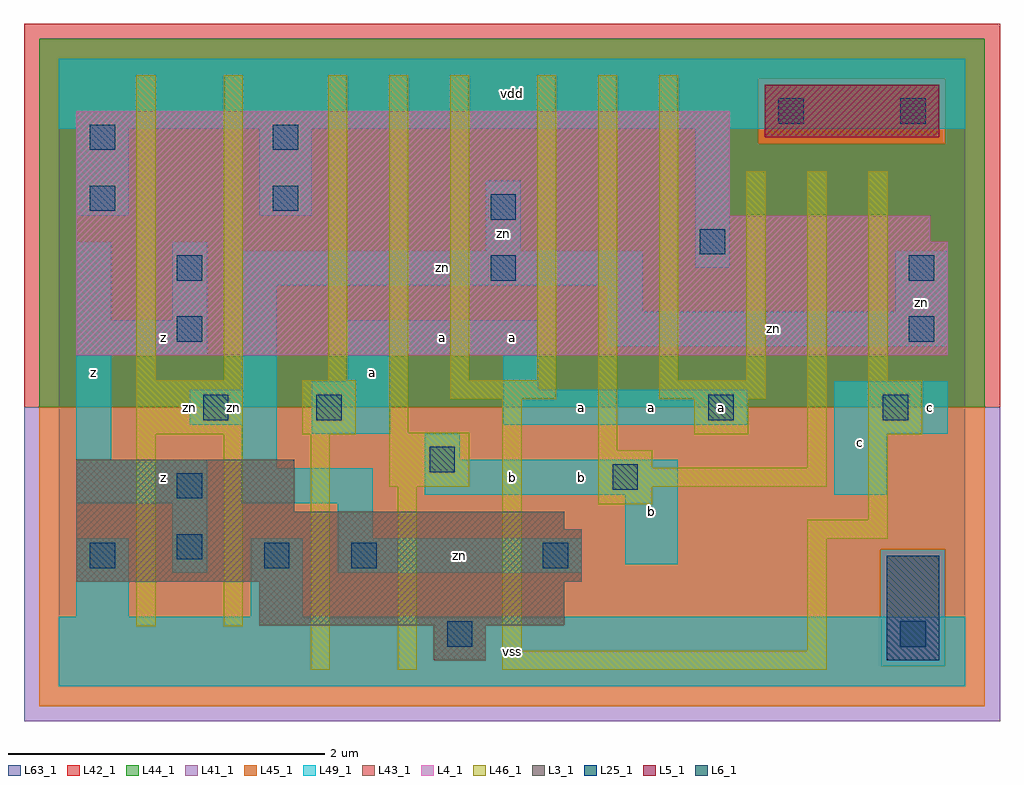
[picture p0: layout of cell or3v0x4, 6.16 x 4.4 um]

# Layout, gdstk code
import gdstk
lib = gdstk.Library(unit=1e-6, precision=1e-09)
def R(c, l, rs):  # rectangles x0, y0, x1, y1
    for r in rs: c.add(gdstk.rectangle(r[:2], r[2:], *l))
L3_1 = (3, 1)
L4_1 = (4, 1)
L5_1 = (5, 1)
L6_1 = (6, 1)
L25_1 = (25, 1)
L41_1 = (41, 1)
L42_1 = (42, 1)
L43_1 = (43, 1)
L44_1 = (44, 1)
L45_1 = (45, 1)
L46_1 = (46, 1)
L49_1 = (49, 1)
L63_1 = (63, 1)

or3v0x4 = lib.new_cell('or3v0x4')
R(or3v0x4, L3_1, [(2.365,0.165,2.695,0.385), (1.265,0.385,3.19,0.66), (0.11,0.66,3.3,0.99), (0.11,0.99,3.19,1.1), (0.11,1.1,1.485,1.43)])
R(or3v0x4, L4_1, [(0.11,2.09,5.61,2.805), (0.11,2.805,5.5,2.97), (0.11,2.97,4.235,3.63)])
R(or3v0x4, L5_1, [(4.455,3.465,5.555,3.795)])
R(or3v0x4, L6_1, [(5.225,0.165,5.555,0.825)])
R(or3v0x4, L25_1, [(2.45,0.25,2.61,0.41), (5.31,0.25,5.47,0.41), (0.195,0.745,0.355,0.905), (1.295,0.745,1.455,0.905), (1.845,0.745,2.005,0.905), (3.055,0.745,3.215,0.905), (0.745,0.8,0.905,0.96), (0.745,1.185,0.905,1.345), (3.495,1.24,3.655,1.4), (2.34,1.35,2.5,1.51), (0.91,1.68,1.07,1.84), (1.625,1.68,1.785,1.84), (4.1,1.68,4.26,1.84), (5.2,1.68,5.36,1.84), (0.745,2.175,0.905,2.335), (5.365,2.175,5.525,2.335), (0.745,2.56,0.905,2.72), (2.725,2.56,2.885,2.72), (5.365,2.56,5.525,2.72), (4.045,2.725,4.205,2.885), (2.725,2.945,2.885,3.105), (0.195,3,0.355,3.16), (1.35,3,1.51,3.16), (0.195,3.385,0.355,3.545), (1.35,3.385,1.51,3.545), (4.54,3.55,4.7,3.71), (5.31,3.55,5.47,3.71)])
R(or3v0x4, L41_1, [(-0.22,-0.22,5.94,1.76)])
R(or3v0x4, L42_1, [(-0.22,1.76,5.94,4.18)])
R(or3v0x4, L43_1, [(2.365,0.165,2.695,0.385), (5.225,0.165,5.555,0.825), (1.265,0.385,3.19,0.66), (0.11,0.66,3.3,0.99), (0.11,0.99,3.19,1.1), (0.11,1.1,1.485,1.43), (0.11,2.09,5.61,2.805), (0.11,2.805,5.5,2.97), (0.11,2.97,4.235,3.63), (4.455,3.465,5.555,3.795)])
R(or3v0x4, L44_1, [(5.185,0.125,5.595,0.865), (-0.125,1.76,5.845,3.425), (-0.125,3.425,4.415,3.835), (5.595,3.425,5.845,3.835), (-0.125,3.835,5.845,4.085)])
R(or3v0x4, L45_1, [(-0.125,-0.125,5.845,0.125), (-0.125,0.125,5.185,0.865), (5.595,0.125,5.845,0.865), (-0.125,0.865,5.845,1.76), (4.415,3.425,5.595,3.835)])
R(or3v0x4, L46_1, [(1.59,0.105,1.71,1.59), (2.14,0.105,2.26,1.26), (2.8,0.105,4.845,0.225), (2.8,0.225,2.92,1.81), (4.725,0.225,4.845,0.93), (0.49,0.38,0.61,1.59), (1.04,0.38,1.16,1.59), (4.725,0.93,5.23,1.05), (5.11,1.05,5.23,1.59), (3.405,1.15,3.745,1.26), (2.085,1.26,2.59,1.6), (3.405,1.26,4.845,1.38), (3.405,1.38,3.745,1.49), (4.725,1.38,4.845,3.25), (3.405,1.49,3.525,3.855), (0.49,1.59,1.16,1.93), (1.535,1.59,1.875,1.93), (4.01,1.59,4.35,1.81), (5.11,1.59,5.45,1.93), (2.085,1.6,2.205,3.855), (2.47,1.81,3.14,1.93), (3.79,1.81,4.46,1.93), (0.49,1.93,0.61,3.855), (1.04,1.93,1.16,3.855), (1.7,1.93,1.82,3.855), (2.47,1.93,2.59,3.855), (3.02,1.93,3.14,3.855), (3.79,1.93,3.91,3.855), (4.34,1.93,4.46,3.25), (5.11,1.93,5.23,3.25)])
R(or3v0x4, L49_1, [(0,0,5.72,0.44), (0.11,0.44,0.44,0.935), (1.21,0.44,1.54,0.935), (0.715,0.715,0.935,1.155), (1.76,0.715,3.3,0.935), (3.575,0.77,3.905,1.21), (1.76,0.935,1.98,1.155), (0.11,1.155,0.935,1.43), (1.155,1.155,1.98,1.375), (2.31,1.21,3.905,1.43), (4.895,1.21,5.225,1.595), (1.155,1.375,1.375,1.65), (0.11,1.43,0.33,2.09), (2.31,1.43,2.53,1.595), (1.595,1.595,2.09,1.925), (4.895,1.595,5.61,1.925), (0.825,1.65,1.375,1.87), (2.805,1.65,4.345,1.87), (1.155,1.87,1.375,2.53), (2.805,1.87,3.025,2.09), (1.815,1.925,2.09,2.09), (0.11,2.09,0.935,2.31), (1.815,2.09,3.025,2.31), (3.465,2.145,5.61,2.365), (0.11,2.31,0.33,2.805), (0.715,2.31,0.935,2.805), (3.465,2.365,3.685,2.53), (5.28,2.365,5.61,2.75), (1.155,2.53,3.685,2.75), (4.015,2.64,4.235,3.52), (2.695,2.75,2.915,3.19), (0.11,2.97,0.44,3.52), (1.265,2.97,1.595,3.52), (0,3.52,5.72,3.96)])
R(or3v0x4, L63_1, [(0,0,5.72,3.96)])
or3v0x4.add(gdstk.Label('zn', (0.825,1.76), layer=46, texttype=1))
or3v0x4.add(gdstk.Label('z', (0.66,1.32), layer=49, texttype=1))
or3v0x4.add(gdstk.Label('z', (0.22,1.98), layer=49, texttype=1))
or3v0x4.add(gdstk.Label('z', (0.66,2.2), layer=49, texttype=1))
or3v0x4.add(gdstk.Label('zn', (1.1,1.76), layer=49, texttype=1))
or3v0x4.add(gdstk.Label('a', (1.98,1.98), layer=49, texttype=1))
or3v0x4.add(gdstk.Label('vss', (2.86,0.22), layer=49, texttype=1))
or3v0x4.add(gdstk.Label('zn', (2.53,0.825), layer=49, texttype=1))
or3v0x4.add(gdstk.Label('b', (2.86,1.32), layer=49, texttype=1))
or3v0x4.add(gdstk.Label('b', (3.3,1.32), layer=49, texttype=1))
or3v0x4.add(gdstk.Label('a', (3.3,1.76), layer=49, texttype=1))
or3v0x4.add(gdstk.Label('a', (2.42,2.2), layer=49, texttype=1))
or3v0x4.add(gdstk.Label('a', (2.86,2.2), layer=49, texttype=1))
or3v0x4.add(gdstk.Label('zn', (2.805,2.86), layer=49, texttype=1))
or3v0x4.add(gdstk.Label('vdd', (2.86,3.74), layer=49, texttype=1))
or3v0x4.add(gdstk.Label('b', (3.74,1.1), layer=49, texttype=1))
or3v0x4.add(gdstk.Label('a', (3.74,1.76), layer=49, texttype=1))
or3v0x4.add(gdstk.Label('a', (4.18,1.76), layer=49, texttype=1))
or3v0x4.add(gdstk.Label('zn', (2.42,2.64), layer=49, texttype=1))
or3v0x4.add(gdstk.Label('c', (5.5,1.76), layer=49, texttype=1))
or3v0x4.add(gdstk.Label('c', (5.06,1.54), layer=49, texttype=1))
or3v0x4.add(gdstk.Label('zn', (5.445,2.42), layer=49, texttype=1))
or3v0x4.add(gdstk.Label('zn', (4.51,2.255), layer=49, texttype=1))

lib.write_gds('or3v0x4.gds')
